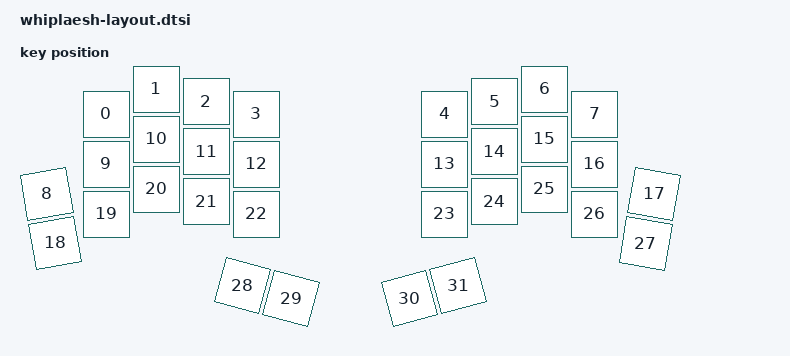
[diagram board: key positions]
#include <physical_layouts.dtsi>

/ {
    default_layout: default_layout {
        compatible = "zmk,physical-layout";
        display-name = "Default";

        keys  //                     w   h    x    y     rot    rx    ry
            = <&key_physical_attrs 100 100  119   50       0     0     0>
            , <&key_physical_attrs 100 100  219    0       0     0     0>
            , <&key_physical_attrs 100 100  319   25       0     0     0>
            , <&key_physical_attrs 100 100  419   50       0     0     0>
            , <&key_physical_attrs 100 100  796   50       0     0     0>
            , <&key_physical_attrs 100 100  896   25       0     0     0>
            , <&key_physical_attrs 100 100  996    0       0     0     0>
            , <&key_physical_attrs 100 100 1096   50       0     0     0>
            , <&key_physical_attrs 100 100    0  210 (-1000)    50   260>
            , <&key_physical_attrs 100 100  119  150       0     0     0>
            , <&key_physical_attrs 100 100  219  100       0     0     0>
            , <&key_physical_attrs 100 100  319  125       0     0     0>
            , <&key_physical_attrs 100 100  419  150       0     0     0>
            , <&key_physical_attrs 100 100  796  150       0     0     0>
            , <&key_physical_attrs 100 100  896  125       0     0     0>
            , <&key_physical_attrs 100 100  996  100       0     0     0>
            , <&key_physical_attrs 100 100 1096  150       0     0     0>
            , <&key_physical_attrs 100 100 1215  210    1000  1265   260>
            , <&key_physical_attrs 100 100   17  308 (-1000)    67   358>
            , <&key_physical_attrs 100 100  119  250       0     0     0>
            , <&key_physical_attrs 100 100  219  200       0     0     0>
            , <&key_physical_attrs 100 100  319  225       0     0     0>
            , <&key_physical_attrs 100 100  419  250       0     0     0>
            , <&key_physical_attrs 100 100  796  250       0     0     0>
            , <&key_physical_attrs 100 100  896  225       0     0     0>
            , <&key_physical_attrs 100 100  996  200       0     0     0>
            , <&key_physical_attrs 100 100 1096  250       0     0     0>
            , <&key_physical_attrs 100 100 1198  309    1000  1248   359>
            , <&key_physical_attrs 100 100  392  393    1500   442   443>
            , <&key_physical_attrs 100 100  489  419    1500   539   469>
            , <&key_physical_attrs 100 100  726  419 (-1500)   776   469>
            , <&key_physical_attrs 100 100  823  393 (-1500)   873   443>
            ;
    };
};
